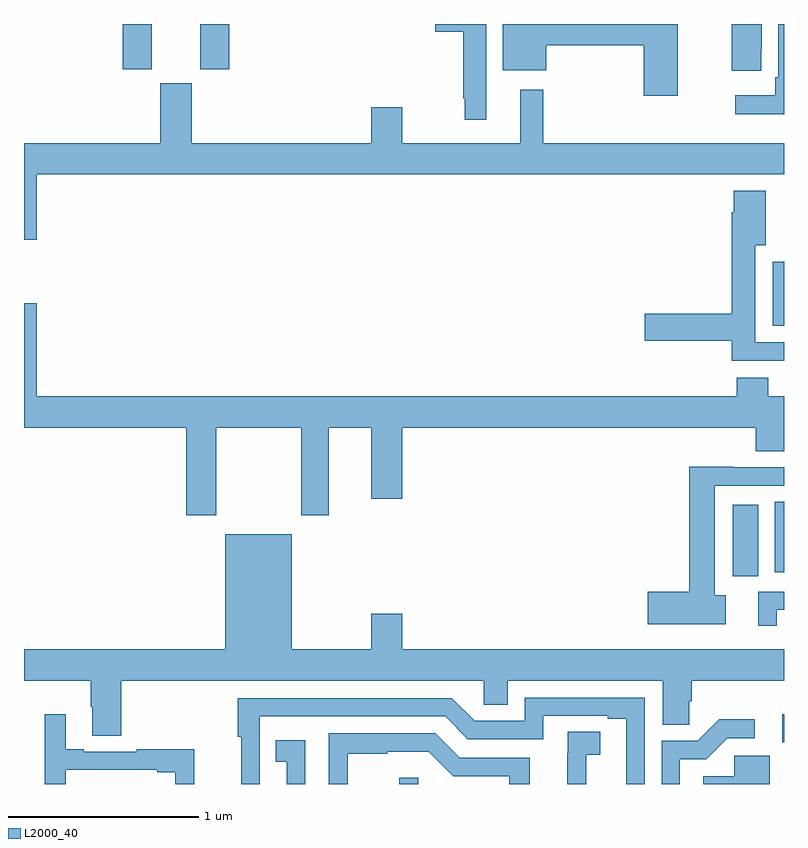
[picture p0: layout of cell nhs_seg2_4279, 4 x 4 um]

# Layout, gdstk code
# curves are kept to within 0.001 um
import gdstk
lib = gdstk.Library(unit=1e-6, precision=1e-09)
def R(c, l, rs):  # rectangles x0, y0, x1, y1
    for r in rs: c.add(gdstk.rectangle(r[:2], r[2:], *l))
def P(c, l, *ps):  # polygons
    for p in ps: c.add(gdstk.Polygon(p, *l))
L2000_40 = (2000, 40)

nhs_seg2_4279 = lib.new_cell('nhs_seg2_4279')
R(nhs_seg2_4279, L2000_40, [(344.974,605.8,345.075,605.833), (346.991,606.021,347,606.166), (346.73,606.894,346.864,607.27), (346.952,606.915,347,607.286), (346.94,608.213,347,608.548), (343.52,609.561,343.672,609.8), (343.928,609.561,344.081,609.8)])
P(nhs_seg2_4279, L2000_40, [(346.44,609.8),(345.521,609.8),(345.521,609.557),(345.748,609.557),(345.748,609.688),(346.262,609.688),(346.262,609.423),(346.44,609.423)],
  [(347,609.8),(346.971,609.8),(346.971,609.52),(346.955,609.52),(346.955,609.424),(346.743,609.424),(346.743,609.326),(347,609.326)],
  [(346.881,609.667),(346.882,609.667),(346.882,609.8),(346.726,609.8),(346.726,609.555),(346.881,609.555)],
  [(345.433,609.8),(345.164,609.8),(345.164,609.758),(345.312,609.758),(345.312,609.409),(345.319,609.409),(345.319,609.297),(345.433,609.297)],
  [(343.067,609.008),(347,609.008),(347,609.172),(345.733,609.172),(345.733,609.454),(345.611,609.454),(345.611,609.172),(344.992,609.172),(344.992,609.361),(344.828,609.361),(344.828,609.172),(343.882,609.172),(343.882,609.489),(343.718,609.489),(343.718,609.172),(343,609.172),(343,608.664),(343.067,608.664)],
  [(347,608.124),(346.849,608.124),(346.849,608.636),(346.903,608.636),(346.903,608.923),(346.736,608.923),(346.736,608.81),(346.724,608.81),(346.724,608.276),(346.266,608.276),(346.266,608.134),(346.724,608.134),(346.724,608.027),(347,608.027)],
  [(344.013,607.676),(344.458,607.676),(344.458,607.215),(344.605,607.215),(344.605,607.676),(344.828,607.676),(344.828,607.302),(344.992,607.302),(344.992,607.676),(346.85,607.676),(346.85,607.552),(347,607.552),(347,607.84),(346.916,607.84),(346.916,607.939),(346.751,607.939),(346.751,607.84),(343.067,607.84),(343.067,608.329),(343,608.329),(343,607.676),(343.853,607.676),(343.853,607.215),(344.013,607.215)],
  [(346.693,606.794),(346.636,606.794),(346.636,607.371),(347,607.371),(347,607.467),(346.732,607.467),(346.732,607.469),(346.502,607.469),(346.502,606.812),(346.284,606.812),(346.284,606.641),(346.693,606.641)],
  [(345.42,606.217),(345.547,606.217),(345.547,606.344),(346.361,606.344),(346.361,606.112),(346.5,606.112),(346.5,606.235),(346.514,606.235),(346.514,606.344),(347,606.344),(347,606.508),(344.992,606.508),(344.992,606.697),(344.828,606.697),(344.828,606.508),(344.41,606.508),(344.41,607.114),(344.06,607.114),(344.06,606.508),(343,606.508),(343,606.344),(343.351,606.344),(343.351,606.206),(343.358,606.206),(343.358,606.055),(343.511,606.055),(343.511,606.344),(345.42,606.344)],
  [(346.963,606.717),(347,606.717),(347,606.813),(346.865,606.813),(346.865,606.633),(346.963,606.633)],
  [(344.242,605.828),(344.241,606.156),(345.216,606.156),(345.336,606.036),(345.732,606.036),(345.732,606.159),(346.073,606.159),(346.073,606.144),(346.169,606.144),(346.169,605.8),(346.266,605.8),(346.266,606.255),(345.636,606.255),(345.636,606.132),(345.372,606.132),(345.252,606.252),(344.125,606.252),(344.125,606.049),(344.143,606.049),(344.143,605.8),(344.242,605.8)],
  [(343.219,605.874),(343.7,605.874),(343.7,605.862),(343.796,605.862),(343.796,605.8),(343.896,605.8),(343.896,605.983),(343.594,605.983),(343.594,605.97),(343.315,605.97),(343.315,605.983),(343.219,605.983),(343.219,606.166),(343.109,606.166),(343.109,605.921),(343.11,605.921),(343.11,605.8),(343.219,605.8)],
  [(346.452,605.931),(346.59,605.931),(346.701,606.042),(346.846,606.042),(346.846,606.14),(346.658,606.14),(346.545,606.027),(346.356,606.027),(346.356,605.8),(346.452,605.8)],
  [(345.959,605.953),(346.033,605.953),(346.033,606.074),(345.862,606.074),(345.862,605.963),(345.86,605.963),(345.86,605.8),(345.959,605.8)],
  [(344.705,605.958),(344.912,605.958),(344.912,605.969),(345.13,605.969),(345.258,605.841),(345.554,605.841),(345.554,605.8),(345.661,605.8),(345.661,605.937),(345.294,605.937),(345.165,606.066),(344.604,606.066),(344.604,605.8),(344.705,605.8)],
  [(344.481,606.031),(344.326,606.031),(344.326,605.918),(344.384,605.918),(344.384,605.8),(344.481,605.8)],
  [(346.924,605.949),(346.737,605.949),(346.737,605.842),(346.575,605.842),(346.575,605.8),(346.924,605.8)])

lib.write_gds('nhs_seg2_4279.gds')
